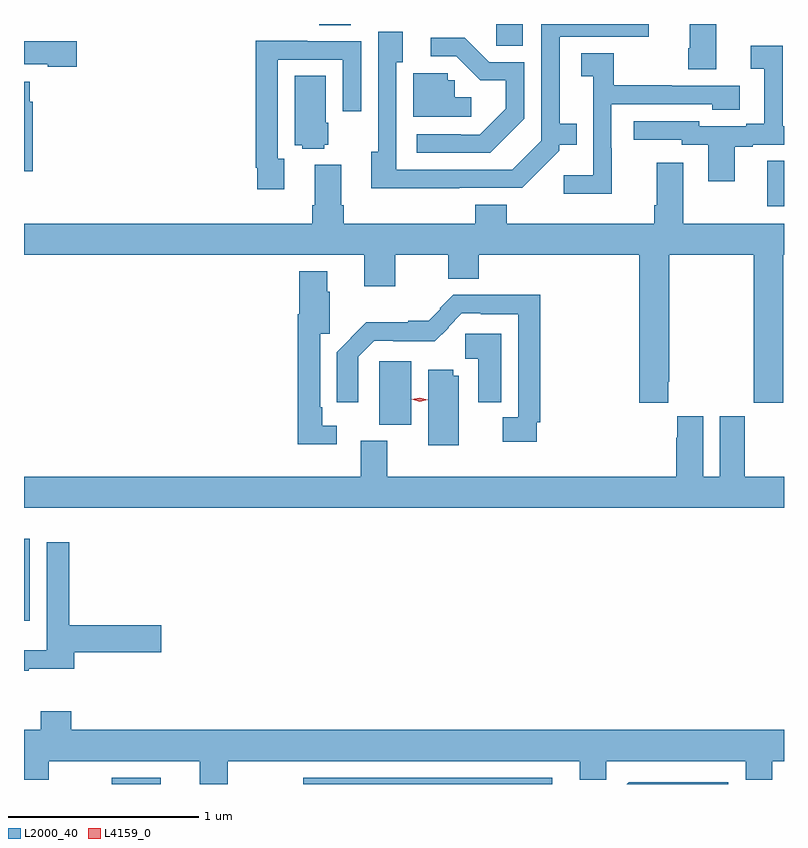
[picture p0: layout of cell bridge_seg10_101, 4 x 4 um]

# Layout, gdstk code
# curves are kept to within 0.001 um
import gdstk
lib = gdstk.Library(unit=1e-6, precision=1e-09)
def R(c, l, rs):  # rectangles x0, y0, x1, y1
    for r in rs: c.add(gdstk.rectangle(r[:2], r[2:], *l))
def P(c, l, *ps):  # polygons
    for p in ps: c.add(gdstk.Polygon(p, *l))
L2000_40 = (2000, 40)
L4159_0 = (4159, 0)

bridge_seg10_101 = lib.new_cell('bridge_seg10_101')
R(bridge_seg10_101, L2000_40, [(481.824,1260.235,482.082,1260.268), (482.83,1260.235,484.141,1260.267), (481.361,1261.095,481.39,1261.525), (483.23,1262.126,483.4,1262.46), (485.273,1263.276,485.361,1263.515), (483.847,1264.12,483.985,1264.235), (482.915,1264.228,483.08,1264.235)])
P(bridge_seg10_101, L2000_40, [(483.653,1263.372),(483.984,1263.372),(484.179,1263.567),(484.179,1263.599),(484.271,1263.599),(484.271,1263.709),(484.18,1263.709),(484.18,1264.167),(484.648,1264.167),(484.648,1264.235),(484.083,1264.235),(484.083,1263.621),(483.93,1263.468),(483.321,1263.468),(483.321,1264.034),(483.355,1264.034),(483.355,1264.195),(483.225,1264.195),(483.225,1263.562),(483.188,1263.562),(483.188,1263.371)],
  [(485.005,1264.235),(484.865,1264.235),(484.865,1264.108),(484.858,1264.108),(484.858,1263.996),(485.005,1263.996)],
  [(483.993,1263.737),(483.993,1264.035),(483.81,1264.035),(483.682,1264.163),(483.501,1264.163),(483.501,1264.065),(483.636,1264.065),(483.763,1263.938),(483.896,1263.938),(483.896,1263.788),(483.759,1263.651),(483.659,1263.651),(483.659,1263.654),(483.429,1263.654),(483.429,1263.558),(483.814,1263.558)],
  [(482.731,1263.527),(482.697,1263.527),(482.697,1264.047),(483.039,1264.047),(483.039,1263.777),(483.135,1263.777),(483.135,1264.143),(482.851,1264.143),(482.851,1264.147),(482.581,1264.147),(482.581,1263.478),(482.589,1263.478),(482.589,1263.366),(482.731,1263.366)],
  [(481.639,1264.144),(481.361,1264.144),(481.361,1264.022),(481.486,1264.022),(481.486,1264.01),(481.639,1264.01)],
  [(485.101,1263.588),(485.197,1263.588),(485.197,1263.6),(485.361,1263.6),(485.361,1263.696),(485.355,1263.696),(485.355,1264.12),(485.187,1264.12),(485.187,1264),(485.258,1264),(485.258,1263.709),(485.162,1263.709),(485.162,1263.696),(484.914,1263.696),(484.914,1263.723),(484.569,1263.723),(484.569,1263.627),(484.824,1263.627),(484.824,1263.6),(484.961,1263.6),(484.961,1263.408),(485.101,1263.408)],
  [(484.455,1263.581),(484.452,1263.581),(484.452,1263.813),(484.983,1263.813),(484.983,1263.785),(485.128,1263.785),(485.128,1263.909),(484.769,1263.909),(484.769,1263.912),(484.465,1263.912),(484.465,1264.082),(484.293,1264.082),(484.293,1263.961),(484.356,1263.961),(484.356,1263.439),(484.203,1263.439),(484.203,1263.341),(484.455,1263.341)],
  [(483.715,1263.85),(483.627,1263.85),(483.627,1263.939),(483.591,1263.939),(483.591,1263.975),(483.41,1263.975),(483.41,1263.747),(483.715,1263.747)],
  [(482.94,1263.6),(482.962,1263.6),(482.962,1263.714),(482.95,1263.714),(482.95,1263.962),(482.786,1263.962),(482.786,1263.596),(482.826,1263.596),(482.826,1263.578),(482.94,1263.578)],
  [(481.408,1263.825),(481.39,1263.825),(481.39,1263.931),(481.361,1263.931),(481.361,1263.461),(481.408,1263.461)],
  [(484.753,1262.353),(484.758,1262.353),(484.758,1263.02),(485.203,1263.02),(485.203,1262.241),(485.358,1262.241),(485.358,1263.02),(485.361,1263.02),(485.361,1263.184),(484.831,1263.184),(484.831,1263.505),(484.691,1263.505),(484.691,1263.28),(484.679,1263.28),(484.679,1263.184),(483.902,1263.184),(483.902,1263.283),(483.737,1263.283),(483.737,1263.184),(483.044,1263.184),(483.044,1263.28),(483.031,1263.28),(483.031,1263.493),(482.891,1263.493),(482.891,1263.28),(482.879,1263.28),(482.879,1263.184),(481.361,1263.184),(481.361,1263.02),(483.152,1263.02),(483.152,1262.856),(483.316,1262.856),(483.316,1263.02),(483.593,1263.02),(483.593,1262.894),(483.754,1262.894),(483.754,1263.02),(484.598,1263.02),(484.598,1262.241),(484.753,1262.241)],
  [(483.007,1262.121),(482.931,1262.121),(482.931,1262.218),(482.919,1262.218),(482.919,1262.604),(482.969,1262.604),(482.969,1262.825),(482.956,1262.825),(482.956,1262.935),(482.81,1262.935),(482.81,1262.707),(482.803,1262.707),(482.803,1262.024),(483.007,1262.024)],
  [(484.059,1262.14),(484.079,1262.14),(484.079,1262.809),(483.619,1262.809),(483.549,1262.739),(483.553,1262.735),(483.491,1262.673),(483.383,1262.673),(483.383,1262.665),(483.163,1262.665),(483.008,1262.508),(483.008,1262.244),(483.12,1262.244),(483.12,1262.484),(483.204,1262.568),(483.304,1262.568),(483.304,1262.564),(483.523,1262.564),(483.597,1262.637),(483.594,1262.64),(483.666,1262.712),(483.766,1262.712),(483.766,1262.708),(483.963,1262.708),(483.963,1262.164),(483.88,1262.164),(483.88,1262.036),(484.059,1262.036)],
  [(483.874,1262.606),(483.684,1262.606),(483.684,1262.474),(483.752,1262.474),(483.752,1262.245),(483.874,1262.245)],
  [(483.649,1262.385),(483.621,1262.385),(483.621,1262.416),(483.488,1262.416),(483.488,1262.018),(483.649,1262.018)],
  [(485.361,1261.852),(485.155,1261.852),(485.155,1262.17),(485.024,1262.17),(485.024,1261.852),(484.936,1261.852),(484.936,1262.17),(484.799,1262.17),(484.799,1262.057),(484.793,1262.057),(484.793,1261.852),(483.274,1261.852),(483.274,1262.041),(483.134,1262.041),(483.134,1261.852),(481.361,1261.852),(481.361,1261.688),(485.361,1261.688)],
  [(481.385,1260.841),(481.625,1260.841),(481.625,1260.928),(482.083,1260.928),(482.083,1261.07),(481.598,1261.07),(481.598,1261.507),(481.482,1261.507),(481.482,1260.94),(481.361,1260.94),(481.361,1260.831),(481.385,1260.831)],
  [(482.433,1260.356),(484.286,1260.356),(484.286,1260.258),(484.425,1260.258),(484.425,1260.356),(485.159,1260.356),(485.159,1260.257),(485.299,1260.257),(485.299,1260.356),(485.361,1260.356),(485.361,1260.52),(481.61,1260.52),(481.61,1260.619),(481.45,1260.619),(481.45,1260.52),(481.361,1260.52),(481.361,1260.257),(481.491,1260.257),(481.491,1260.356),(482.285,1260.356),(482.285,1260.235),(482.433,1260.235)],
  [(485.068,1260.243),(484.739,1260.243),(484.739,1260.244),(484.543,1260.244),(484.534,1260.235),(485.068,1260.235)])
P(bridge_seg10_101, L4159_0, [(483.444,1262.248),(483.403,1262.259),(483.403,1262.259),(483.403,1262.259),(483.444,1262.268),(483.485,1262.257),(483.485,1262.257),(483.485,1262.257)])

lib.write_gds('bridge_seg10_101.gds')
